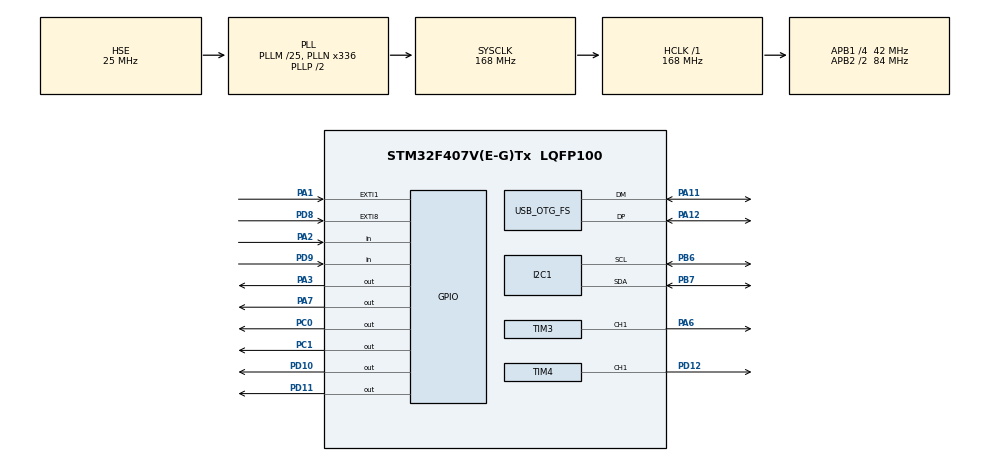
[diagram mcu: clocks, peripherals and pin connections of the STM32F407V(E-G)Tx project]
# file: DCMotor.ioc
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Mcu.Family=STM32F4
Mcu.Name=STM32F407V(E-G)Tx
Mcu.Package=LQFP100
NVIC.EXTI1_IRQn=true\:0\:0\:false\:false\:true\:true\:true\:true
NVIC.OTG_FS_IRQn=true\:0\:0\:false\:false\:true\:false\:true\:true
NVIC.PriorityGroup=NVIC_PRIORITYGROUP_4
NVIC.TIM1_BRK_TIM9_IRQn=true\:0\:0\:false\:false\:true\:true\:true\:true
PA1.GPIO_PuPd=GPIO_PULLDOWN
PA1.Signal=GPXTI1
PA11.Mode=Device_Only
PA11.Signal=USB_OTG_FS_DM
PA12.Mode=Device_Only
PA12.Signal=USB_OTG_FS_DP
PA13.Mode=Serial_Wire
PA13.Signal=SYS_JTMS-SWDIO
PA14.Mode=Serial_Wire
PA14.Signal=SYS_JTCK-SWCLK
PA2.GPIO_PuPd=GPIO_PULLDOWN
PA2.Signal=GPIO_Input
PA3.Signal=GPIO_Output
PA6.Signal=S_TIM3_CH1
PA7.Signal=GPIO_Output
PB6.Mode=I2C
PB6.Signal=I2C1_SCL
PB7.Mode=I2C
PB7.Signal=I2C1_SDA
PC0.Signal=GPIO_Output
PC1.Signal=GPIO_Output
PD10.Signal=GPIO_Output
PD11.Signal=GPIO_Output
PD12.Signal=S_TIM4_CH1
PD8.Signal=GPXTI8
PD9.Signal=GPIO_Input
PH0-OSC_IN.Mode=HSE-External-Oscillator
PH0-OSC_IN.Signal=RCC_OSC_IN
PH1-OSC_OUT.Mode=HSE-External-Oscillator
PH1-OSC_OUT.Signal=RCC_OSC_OUT
ProjectManager.HeapSize=0x200
ProjectManager.StackSize=0x400
ProjectManager.TargetToolchain=STM32CubeIDE
RCC.48MHZClocksFreq_Value=48000000
RCC.AHBFreq_Value=168000000
RCC.APB1CLKDivider=RCC_HCLK_DIV4
RCC.APB1Freq_Value=42000000
RCC.APB1TimFreq_Value=84000000
RCC.APB2CLKDivider=RCC_HCLK_DIV2
RCC.APB2Freq_Value=84000000
RCC.APB2TimFreq_Value=168000000
RCC.CortexFreq_Value=168000000
RCC.HCLKFreq_Value=168000000
RCC.HSE_VALUE=25000000
RCC.HSI_VALUE=16000000
RCC.LSE_VALUE=32768
RCC.PLLM=25
RCC.PLLN=336
RCC.PLLQ=7
RCC.SYSCLKFreq_VALUE=168000000
RCC.SYSCLKSource=RCC_SYSCLKSOURCE_PLLCLK
RCC.VCOOutputFreq_Value=336000000
SH.S_TIM3_CH1.0=TIM3_CH1,PWM Generation1 CH1
SH.S_TIM4_CH1.0=TIM4_CH1,PWM Generation1 CH1
TIM1.Period=9999
TIM1.Prescaler=16799
TIM3.Channel-PWM\ Generation1\ CH1=TIM_CHANNEL_1
TIM3.Period=65535
TIM3.Prescaler=0
TIM4.Channel-PWM\ Generation1\ CH1=TIM_CHANNEL_1
USB_DEVICE.CLASS_NAME_FS=CDC
USB_DEVICE.VirtualMode-CDC_FS=Cdc
USB_DEVICE.VirtualModeFS=Cdc_FS
USB_OTG_FS.VirtualMode=Device_Only
VP_TIM1_VS_ClockSourceINT.Mode=Internal
VP_TIM3_VS_ClockSourceINT.Mode=Internal
VP_TIM4_VS_ClockSourceINT.Mode=Internal
VP_USB_DEVICE_VS_USB_DEVICE_CDC_FS.Mode=CDC_FS
board=custom

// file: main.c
/* USER CODE BEGIN Header */
/**
  ******************************************************************************
  * @file           : main.c
  * @brief          : Main program body
  ******************************************************************************
  * @attention
  *
  * Copyright (c) 2025 STMicroelectronics.
  * All rights reserved.
  *
  * This software is licensed under terms that can be found in the LICENSE file
  * in the root directory of this software component.
  * If no LICENSE file comes with this software, it is provided AS-IS.
  *
  ******************************************************************************
  */
/* USER CODE END Header */
#include "main.h"
#include "usb_device.h"

/* USER CODE BEGIN Includes */
#include <string.h>
#include <math.h>
#include "usbd_cdc_if.h"
#include "DCMotor.h"
#include "MPU.h"
/* USER CODE END Includes */

I2C_HandleTypeDef hi2c1;

TIM_HandleTypeDef htim1;
TIM_HandleTypeDef htim3;
TIM_HandleTypeDef htim4;

void SystemClock_Config(void);
static void MX_GPIO_Init(void);
static void MX_TIM3_Init(void);
static void MX_TIM4_Init(void);
static void MX_TIM1_Init(void);
static void MX_I2C1_Init(void);

/* USER CODE BEGIN 0 */

DCMotor MotorA;
DCMotor MotorB;
MPU6050_Raw Raw;
void USB_CDC_RxHandler(uint8_t* Buf, uint32_t Len)
{
    CDC_Transmit_FS(TxBuffer, TxBufferLen);
}

/* USER CODE END 0 */

int main(void)
{

  /* MCU Configuration--------------------------------------------------------*/

  /* Reset of all peripherals, Initializes the Flash interface and the Systick. */
  HAL_Init();

  /* Configure the system clock */
  SystemClock_Config();

  /* Initialize all configured peripherals */
  MX_GPIO_Init();
  MX_TIM3_Init();
  MX_TIM4_Init();
  MX_TIM1_Init();
  MX_USB_DEVICE_Init();
  MX_I2C1_Init();
  /* USER CODE BEGIN 2 */
  HAL_TIM_Base_Start_IT(&htim3);
  HAL_TIM_Base_Start_IT(&htim4);
  HAL_TIM_PWM_Start(&htim3, TIM_CHANNEL_1);
  HAL_TIM_PWM_Start(&htim4, TIM_CHANNEL_1);
  DCMotor_Init(&MotorA, 60, &htim3, TIM_CHANNEL_1, GPIOA, GPIO_PIN_3, GPIO_PIN_7);
  DCMotor_Init(&MotorB, 60, &htim4, TIM_CHANNEL_1, GPIOD, GPIO_PIN_11, GPIO_PIN_10);
  DCMotor_Set_Speed(&MotorB, 100);
  DCMotor_Set_Speed(&MotorA, 100);
  /* USER CODE END 2 */

  /* Infinite loop */
  /* USER CODE BEGIN WHILE */

//  DCMotor_Set_Speed(&MotorA, 100);

  while (1)
  {

	DCMotor_Run(&MotorB, 1);
	DCMotor_Run(&MotorA, 1);
//	  MPU6050_Read_Data(&Raw);
//	  uint32_t t_prev = HAL_GetTick();
//	  float pitch_acc = atan2f(-Raw.Ax, sqrtf(Raw.Ay*Raw.Ay + Raw.Az*Raw.Az)) * 180.0 / PI;
//	  sprintf(msg, "A: %.2f %.2f %.2f | G: %.2f %.2f %.2f | Pitch: %.2f\r\n",
//			  Raw.Ax, Raw.Ay, Raw.Az, Raw.Gx, Raw.Gy, Raw.Gz, pitch_acc);
//	  CDC_Transmit_FS((uint8_t*)msg, strlen(msg));
//	  HAL_Delay(500);

    /* USER CODE END WHILE */

  }
}

void SystemClock_Config(void)
{
  RCC_OscInitTypeDef RCC_OscInitStruct = {0};
  RCC_ClkInitTypeDef RCC_ClkInitStruct = {0};

  /** Configure the main internal regulator output voltage
  */
  __HAL_RCC_PWR_CLK_ENABLE();
  __HAL_PWR_VOLTAGESCALING_CONFIG(PWR_REGULATOR_VOLTAGE_SCALE1);

  /** Initializes the RCC Oscillators according to the specified parameters
  * in the RCC_OscInitTypeDef structure.
  */
  RCC_OscInitStruct.OscillatorType = RCC_OSCILLATORTYPE_HSE;
  RCC_OscInitStruct.HSEState = RCC_HSE_ON;
  RCC_OscInitStruct.PLL.PLLState = RCC_PLL_ON;
  RCC_OscInitStruct.PLL.PLLSource = RCC_PLLSOURCE_HSE;
  RCC_OscInitStruct.PLL.PLLM = 25;
  RCC_OscInitStruct.PLL.PLLN = 336;
  RCC_OscInitStruct.PLL.PLLP = RCC_PLLP_DIV2;
  RCC_OscInitStruct.PLL.PLLQ = 7;
  if (HAL_RCC_OscConfig(&RCC_OscInitStruct) != HAL_OK)
  {
    Error_Handler();
  }

  /** Initializes the CPU, AHB and APB buses clocks
  */
  RCC_ClkInitStruct.ClockType = RCC_CLOCKTYPE_HCLK|RCC_CLOCKTYPE_SYSCLK
                              |RCC_CLOCKTYPE_PCLK1|RCC_CLOCKTYPE_PCLK2;
  RCC_ClkInitStruct.SYSCLKSource = RCC_SYSCLKSOURCE_PLLCLK;
  RCC_ClkInitStruct.AHBCLKDivider = RCC_SYSCLK_DIV1;
  RCC_ClkInitStruct.APB1CLKDivider = RCC_HCLK_DIV4;
  RCC_ClkInitStruct.APB2CLKDivider = RCC_HCLK_DIV2;

  if (HAL_RCC_ClockConfig(&RCC_ClkInitStruct, FLASH_LATENCY_5) != HAL_OK)
  {
    Error_Handler();
  }
}

static void MX_I2C1_Init(void)
{

  hi2c1.Instance = I2C1;
  hi2c1.Init.ClockSpeed = 100000;
  hi2c1.Init.DutyCycle = I2C_DUTYCYCLE_2;
  hi2c1.Init.OwnAddress1 = 0;
  hi2c1.Init.AddressingMode = I2C_ADDRESSINGMODE_7BIT;
  hi2c1.Init.DualAddressMode = I2C_DUALADDRESS_DISABLE;
  hi2c1.Init.OwnAddress2 = 0;
  hi2c1.Init.GeneralCallMode = I2C_GENERALCALL_DISABLE;
  hi2c1.Init.NoStretchMode = I2C_NOSTRETCH_DISABLE;
  if (HAL_I2C_Init(&hi2c1) != HAL_OK)
  {
    Error_Handler();
  }

}

static void MX_TIM1_Init(void)
{

  TIM_ClockConfigTypeDef sClockSourceConfig = {0};
  TIM_MasterConfigTypeDef sMasterConfig = {0};

  htim1.Instance = TIM1;
  htim1.Init.Prescaler = 16799;
  htim1.Init.CounterMode = TIM_COUNTERMODE_UP;
  htim1.Init.Period = 9999;
  htim1.Init.ClockDivision = TIM_CLOCKDIVISION_DIV1;
  htim1.Init.RepetitionCounter = 0;
  htim1.Init.AutoReloadPreload = TIM_AUTORELOAD_PRELOAD_DISABLE;
  if (HAL_TIM_Base_Init(&htim1) != HAL_OK)
  {
    Error_Handler();
  }
  sClockSourceConfig.ClockSource = TIM_CLOCKSOURCE_INTERNAL;
  if (HAL_TIM_ConfigClockSource(&htim1, &sClockSourceConfig) != HAL_OK)
  {
    Error_Handler();
  }
  sMasterConfig.MasterOutputTrigger = TIM_TRGO_RESET;
  sMasterConfig.MasterSlaveMode = TIM_MASTERSLAVEMODE_DISABLE;
  if (HAL_TIMEx_MasterConfigSynchronization(&htim1, &sMasterConfig) != HAL_OK)
  {
    Error_Handler();
  }

}

static void MX_TIM3_Init(void)
{

  TIM_ClockConfigTypeDef sClockSourceConfig = {0};
  TIM_MasterConfigTypeDef sMasterConfig = {0};
  TIM_OC_InitTypeDef sConfigOC = {0};

  htim3.Instance = TIM3;
  htim3.Init.Prescaler = 0;
  htim3.Init.CounterMode = TIM_COUNTERMODE_UP;
  htim3.Init.Period = 65535;
  htim3.Init.ClockDivision = TIM_CLOCKDIVISION_DIV1;
  htim3.Init.AutoReloadPreload = TIM_AUTORELOAD_PRELOAD_DISABLE;
  if (HAL_TIM_Base_Init(&htim3) != HAL_OK)
  {
    Error_Handler();
  }
  sClockSourceConfig.ClockSource = TIM_CLOCKSOURCE_INTERNAL;
  if (HAL_TIM_ConfigClockSource(&htim3, &sClockSourceConfig) != HAL_OK)
  {
    Error_Handler();
  }
  if (HAL_TIM_PWM_Init(&htim3) != HAL_OK)
  {
    Error_Handler();
  }
  sMasterConfig.MasterOutputTrigger = TIM_TRGO_RESET;
  sMasterConfig.MasterSlaveMode = TIM_MASTERSLAVEMODE_DISABLE;
  if (HAL_TIMEx_MasterConfigSynchronization(&htim3, &sMasterConfig) != HAL_OK)
  {
    Error_Handler();
  }
  sConfigOC.OCMode = TIM_OCMODE_PWM1;
  sConfigOC.Pulse = 0;
  sConfigOC.OCPolarity = TIM_OCPOLARITY_HIGH;
  sConfigOC.OCFastMode = TIM_OCFAST_DISABLE;
  if (HAL_TIM_PWM_ConfigChannel(&htim3, &sConfigOC, TIM_CHANNEL_1) != HAL_OK)
  {
    Error_Handler();
  }
  HAL_TIM_MspPostInit(&htim3);

}

static void MX_TIM4_Init(void)
{

  TIM_ClockConfigTypeDef sClockSourceConfig = {0};
  TIM_MasterConfigTypeDef sMasterConfig = {0};
  TIM_OC_InitTypeDef sConfigOC = {0};

  htim4.Instance = TIM4;
  htim4.Init.Prescaler = 0;
  htim4.Init.CounterMode = TIM_COUNTERMODE_UP;
  htim4.Init.Period = 65535;
  htim4.Init.ClockDivision = TIM_CLOCKDIVISION_DIV1;
  htim4.Init.AutoReloadPreload = TIM_AUTORELOAD_PRELOAD_DISABLE;
  if (HAL_TIM_Base_Init(&htim4) != HAL_OK)
  {
    Error_Handler();
  }
  sClockSourceConfig.ClockSource = TIM_CLOCKSOURCE_INTERNAL;
  if (HAL_TIM_ConfigClockSource(&htim4, &sClockSourceConfig) != HAL_OK)
  {
    Error_Handler();
  }
  if (HAL_TIM_PWM_Init(&htim4) != HAL_OK)
  {
    Error_Handler();
  }
  sMasterConfig.MasterOutputTrigger = TIM_TRGO_RESET;
  sMasterConfig.MasterSlaveMode = TIM_MASTERSLAVEMODE_DISABLE;
  if (HAL_TIMEx_MasterConfigSynchronization(&htim4, &sMasterConfig) != HAL_OK)
  {
    Error_Handler();
  }
  sConfigOC.OCMode = TIM_OCMODE_PWM1;
  sConfigOC.Pulse = 0;
  sConfigOC.OCPolarity = TIM_OCPOLARITY_HIGH;
  sConfigOC.OCFastMode = TIM_OCFAST_DISABLE;
  if (HAL_TIM_PWM_ConfigChannel(&htim4, &sConfigOC, TIM_CHANNEL_1) != HAL_OK)
  {
    Error_Handler();
  }
  HAL_TIM_MspPostInit(&htim4);

}

static void MX_GPIO_Init(void)
{
  GPIO_InitTypeDef GPIO_InitStruct = {0};

  /* GPIO Ports Clock Enable */
  __HAL_RCC_GPIOH_CLK_ENABLE();
  __HAL_RCC_GPIOC_CLK_ENABLE();
  __HAL_RCC_GPIOA_CLK_ENABLE();
  __HAL_RCC_GPIOD_CLK_ENABLE();
  __HAL_RCC_GPIOB_CLK_ENABLE();

  /*Configure GPIO pin Output Level */
  HAL_GPIO_WritePin(GPIOC, GPIO_PIN_0|GPIO_PIN_1, GPIO_PIN_RESET);

  /*Configure GPIO pin Output Level */
  HAL_GPIO_WritePin(GPIOA, GPIO_PIN_3|GPIO_PIN_7, GPIO_PIN_RESET);

  /*Configure GPIO pin Output Level */
  HAL_GPIO_WritePin(GPIOD, GPIO_PIN_10|GPIO_PIN_11, GPIO_PIN_RESET);

  /*Configure GPIO pins : PC0 PC1 */
  GPIO_InitStruct.Pin = GPIO_PIN_0|GPIO_PIN_1;
  GPIO_InitStruct.Mode = GPIO_MODE_OUTPUT_PP;
  GPIO_InitStruct.Pull = GPIO_NOPULL;
  GPIO_InitStruct.Speed = GPIO_SPEED_FREQ_LOW;
  HAL_GPIO_Init(GPIOC, &GPIO_InitStruct);

  /*Configure GPIO pin : PA1 */
  GPIO_InitStruct.Pin = GPIO_PIN_1;
  GPIO_InitStruct.Mode = GPIO_MODE_IT_RISING;
  GPIO_InitStruct.Pull = GPIO_PULLDOWN;
  HAL_GPIO_Init(GPIOA, &GPIO_InitStruct);

  /*Configure GPIO pin : PA2 */
  GPIO_InitStruct.Pin = GPIO_PIN_2;
  GPIO_InitStruct.Mode = GPIO_MODE_INPUT;
  GPIO_InitStruct.Pull = GPIO_PULLDOWN;
  HAL_GPIO_Init(GPIOA, &GPIO_InitStruct);

  /*Configure GPIO pins : PA3 PA7 */
  GPIO_InitStruct.Pin = GPIO_PIN_3|GPIO_PIN_7;
  GPIO_InitStruct.Mode = GPIO_MODE_OUTPUT_PP;
  GPIO_InitStruct.Pull = GPIO_NOPULL;
  GPIO_InitStruct.Speed = GPIO_SPEED_FREQ_LOW;
  HAL_GPIO_Init(GPIOA, &GPIO_InitStruct);

  /*Configure GPIO pin : PD8 */
  GPIO_InitStruct.Pin = GPIO_PIN_8;
  GPIO_InitStruct.Mode = GPIO_MODE_IT_RISING;
  GPIO_InitStruct.Pull = GPIO_NOPULL;
  HAL_GPIO_Init(GPIOD, &GPIO_InitStruct);

  /*Configure GPIO pin : PD9 */
  GPIO_InitStruct.Pin = GPIO_PIN_9;
  GPIO_InitStruct.Mode = GPIO_MODE_INPUT;
  GPIO_InitStruct.Pull = GPIO_NOPULL;
  HAL_GPIO_Init(GPIOD, &GPIO_InitStruct);

  /*Configure GPIO pins : PD10 PD11 */
  GPIO_InitStruct.Pin = GPIO_PIN_10|GPIO_PIN_11;
  GPIO_InitStruct.Mode = GPIO_MODE_OUTPUT_PP;
  GPIO_InitStruct.Pull = GPIO_NOPULL;
  GPIO_InitStruct.Speed = GPIO_SPEED_FREQ_LOW;
  HAL_GPIO_Init(GPIOD, &GPIO_InitStruct);

  /* EXTI interrupt init*/
  HAL_NVIC_SetPriority(EXTI1_IRQn, 0, 0);
  HAL_NVIC_EnableIRQ(EXTI1_IRQn);

}

void Error_Handler(void)
{
  __disable_irq();
  while (1)
  {
  }
}
